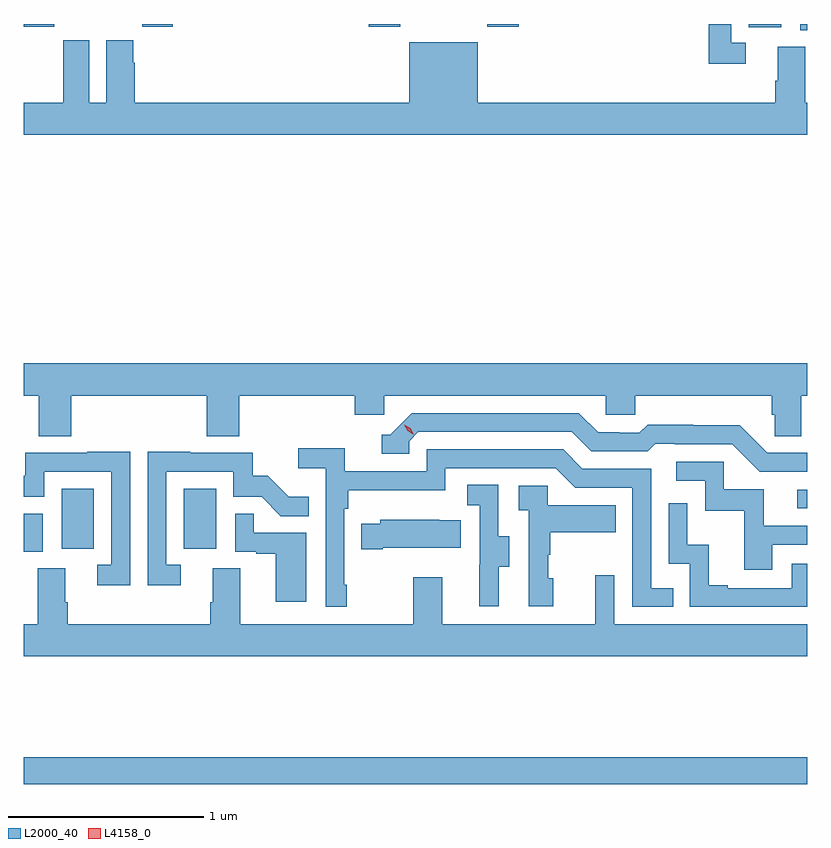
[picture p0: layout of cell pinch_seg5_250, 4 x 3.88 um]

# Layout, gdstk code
import gdstk
lib = gdstk.Library(unit=1e-6, precision=1e-09)
def R(c, l, rs):  # rectangles x0, y0, x1, y1
    for r in rs: c.add(gdstk.rectangle(r[:2], r[2:], *l))
def P(c, l, *ps):  # polygons
    for p in ps: c.add(gdstk.Polygon(p, *l))
L2000_40 = (2000, 40)
L4158_0 = (4158, 0)

pinch_seg5_250 = lib.new_cell('pinch_seg5_250')
R(pinch_seg5_250, L2000_40, [(934.621,901.396,938.621,901.532), (934.621,902.583,934.716,902.777), (934.814,902.598,934.978,902.905), (935.438,902.598,935.602,902.905), (938.571,902.805,938.621,902.898), (938.586,905.247,938.621,905.278), (938.324,905.262,938.488,905.278), (934.621,905.265,934.776,905.278), (935.225,905.265,935.381,905.278), (936.383,905.265,936.543,905.278), (936.988,905.265,937.148,905.278)])
P(pinch_seg5_250, L2000_40, [(938.308,905.181),(938.235,905.181),(938.235,905.278),(938.119,905.278),(938.119,905.076),(938.308,905.076)],
  [(938.621,904.876),(938.611,904.876),(938.611,905.162),(938.471,905.162),(938.471,904.988),(938.459,904.988),(938.459,904.876),(936.94,904.876),(936.94,905.185),(936.59,905.185),(936.59,904.876),(935.186,904.876),(935.186,905.081),(935.179,905.081),(935.179,905.194),(935.042,905.194),(935.042,904.876),(934.954,904.876),(934.954,905.194),(934.823,905.194),(934.823,904.876),(934.621,904.876),(934.621,904.712),(938.621,904.712)],
  [(934.862,903.38),(935.555,903.38),(935.555,903.172),(935.72,903.172),(935.72,903.38),(936.311,903.38),(936.311,903.282),(936.462,903.282),(936.462,903.38),(937.593,903.38),(937.593,903.282),(937.743,903.282),(937.743,903.38),(938.441,903.38),(938.441,903.282),(938.455,903.282),(938.455,903.172),(938.592,903.172),(938.592,903.38),(938.621,903.38),(938.621,903.544),(934.621,903.544),(934.621,903.38),(934.697,903.38),(934.697,903.172),(934.862,903.172)],
  [(938.621,903.087),(938.418,903.087),(938.276,903.229),(938.04,903.229),(938.04,903.232),(937.807,903.232),(937.765,903.189),(937.662,903.189),(937.662,903.192),(937.555,903.192),(937.456,903.291),(936.603,903.291),(936.492,903.18),(936.449,903.18),(936.449,903.084),(936.588,903.084),(936.588,903.147),(936.636,903.195),(937.419,903.195),(937.518,903.096),(937.807,903.096),(937.846,903.135),(937.945,903.135),(937.945,903.132),(938.238,903.132),(938.379,902.991),(938.621,902.991)],
  [(936.271,902.413),(936.258,902.413),(936.258,902.801),(936.278,902.801),(936.278,902.897),(936.774,902.897),(936.774,903.009),(937.338,903.009),(937.437,902.91),(937.728,902.91),(937.728,902.301),(937.937,902.301),(937.937,902.397),(937.824,902.397),(937.824,903.006),(937.474,903.006),(937.375,903.105),(936.678,903.105),(936.678,902.994),(936.26,902.994),(936.26,903.11),(936.021,903.11),(936.021,903.008),(936.162,903.008),(936.162,902.301),(936.271,902.301)],
  [(935.422,902.517),(935.349,902.517),(935.349,902.991),(935.691,902.991),(935.691,902.862),(935.835,902.862),(935.933,902.764),(936.077,902.764),(936.077,902.863),(935.973,902.863),(935.866,902.97),(935.79,902.97),(935.79,903.087),(935.471,903.087),(935.471,903.092),(935.253,903.092),(935.253,902.412),(935.422,902.412)],
  [(935.163,903.092),(934.945,903.092),(934.945,903.087),(934.627,903.087),(934.627,902.97),(934.621,902.97),(934.621,902.862),(934.725,902.862),(934.725,902.991),(935.067,902.991),(935.067,902.517),(934.995,902.517),(934.995,902.412),(935.163,902.412)],
  [(938.443,902.619),(938.621,902.619),(938.621,902.715),(938.401,902.715),(938.401,902.901),(938.196,902.901),(938.196,903.042),(937.953,903.042),(937.953,902.946),(938.1,902.946),(938.1,902.793),(938.299,902.793),(938.299,902.49),(938.443,902.49)],
  [(937.045,902.506),(937.099,902.506),(937.099,902.661),(937.044,902.661),(937.044,902.924),(936.885,902.924),(936.885,902.821),(936.948,902.821),(936.948,902.517),(936.947,902.517),(936.947,902.304),(937.045,902.304)],
  [(937.324,902.448),(937.299,902.448),(937.299,902.567),(937.309,902.567),(937.309,902.681),(937.643,902.681),(937.643,902.821),(937.296,902.821),(937.296,902.919),(937.149,902.919),(937.149,902.795),(937.2,902.795),(937.2,902.304),(937.324,902.304)],
  [(938.621,902.52),(938.544,902.52),(938.544,902.397),(938.215,902.397),(938.215,902.41),(938.12,902.41),(938.12,902.618),(938.01,902.618),(938.01,902.83),(937.914,902.83),(937.914,902.52),(938.022,902.52),(938.022,902.301),(938.621,902.301)],
  [(936.064,902.679),(935.795,902.679),(935.795,902.777),(935.7,902.777),(935.7,902.583),(935.807,902.583),(935.807,902.571),(935.906,902.571),(935.906,902.328),(936.064,902.328)],
  [(936.454,902.603),(936.851,902.603),(936.851,902.743),(936.743,902.743),(936.743,902.746),(936.441,902.746),(936.441,902.725),(936.343,902.725),(936.343,902.596),(936.454,902.596)],
  [(938.621,902.212),(937.635,902.212),(937.635,902.461),(937.538,902.461),(937.538,902.212),(936.757,902.212),(936.757,902.452),(936.61,902.452),(936.61,902.212),(935.725,902.212),(935.725,902.498),(935.585,902.498),(935.585,902.324),(935.573,902.324),(935.573,902.212),(934.844,902.212),(934.844,902.324),(934.831,902.324),(934.831,902.498),(934.691,902.498),(934.691,902.212),(934.621,902.212),(934.621,902.048),(938.621,902.048)])
P(pinch_seg5_250, L4158_0, [(936.612,903.181),(936.581,903.2),(936.564,903.232),(936.564,903.232),(936.564,903.232),(936.595,903.214),(936.612,903.181),(936.612,903.181)])

lib.write_gds('pinch_seg5_250.gds')
